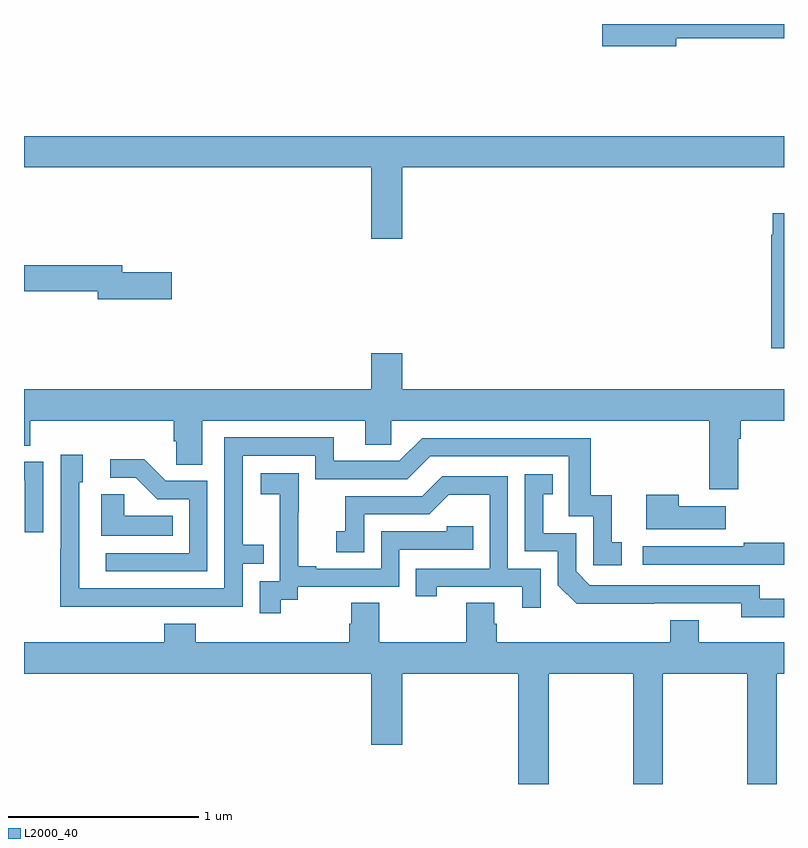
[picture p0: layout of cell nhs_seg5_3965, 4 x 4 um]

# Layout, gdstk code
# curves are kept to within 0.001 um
import gdstk
lib = gdstk.Library(unit=1e-6, precision=1e-09)
def P(c, l, *ps):  # polygons
    for p in ps: c.add(gdstk.Polygon(p, *l))
L2000_40 = (2000, 40)

nhs_seg5_3965 = lib.new_cell('nhs_seg5_3965')
P(nhs_seg5_3965, L2000_40, [(346.432,906.724),(347,906.724),(347,906.799),(346.044,906.799),(346.044,906.682),(346.432,906.682)],
  [(344.992,906.044),(347,906.044),(347,906.208),(343,906.208),(343,906.044),(344.828,906.044),(344.828,905.67),(344.992,905.67)],
  [(347,905.803),(346.941,905.803),(346.941,905.69),(346.933,905.69),(346.933,905.093),(347,905.093)],
  [(343.777,905.492),(343.516,905.492),(343.516,905.528),(343,905.528),(343,905.392),(343.388,905.392),(343.388,905.35),(343.777,905.35)],
  [(346.759,904.616),(346.772,904.616),(346.772,904.712),(347,904.712),(347,904.876),(344.992,904.876),(344.992,905.065),(344.828,905.065),(344.828,904.876),(343,904.876),(343,904.579),(343.034,904.579),(343.034,904.712),(343.787,904.712),(343.787,904.603),(343.8,904.603),(343.8,904.48),(343.939,904.48),(343.939,904.712),(344.795,904.712),(344.795,904.585),(344.934,904.585),(344.934,904.712),(346.607,904.712),(346.607,904.35),(346.759,904.35)],
  [(343.655,903.732),(344.151,903.732),(344.151,903.957),(344.261,903.957),(344.261,904.058),(344.151,904.058),(344.151,904.527),(344.532,904.527),(344.532,904.404),(345.018,904.404),(345.138,904.524),(345.867,904.524),(345.867,904.209),(345.996,904.209),(345.996,903.951),(346.147,903.951),(346.147,904.071),(346.094,904.071),(346.094,904.318),(345.983,904.318),(345.983,904.62),(345.096,904.62),(344.976,904.5),(344.629,904.5),(344.629,904.623),(344.055,904.623),(344.055,903.828),(343.29,903.828),(343.29,904.386),(343.309,904.386),(343.309,904.531),(343.194,904.531),(343.194,904.037),(343.192,904.037),(343.192,903.731)],
  [(343.965,904.395),(343.746,904.395),(343.633,904.508),(343.455,904.508),(343.455,904.41),(343.589,904.41),(343.7,904.299),(343.869,904.299),(343.869,904.014),(343.431,904.014),(343.431,903.918),(343.965,903.918)],
  [(343.101,904.494),(343,904.494),(343,904.398),(343.005,904.398),(343.005,904.125),(343.101,904.125)],
  [(344.35,903.769),(344.442,903.769),(344.442,903.837),(344.976,903.837),(344.976,904.032),(345.365,904.032),(345.365,904.155),(345.225,904.155),(345.225,904.128),(344.88,904.128),(344.88,903.933),(344.539,903.933),(344.539,903.946),(344.444,903.946),(344.444,904.229),(344.445,904.229),(344.445,904.435),(344.247,904.435),(344.247,904.325),(344.345,904.325),(344.345,904.097),(344.346,904.097),(344.346,903.867),(344.241,903.867),(344.241,903.699),(344.35,903.699)],
  [(347,903.774),(346.872,903.774),(346.872,903.846),(345.978,903.846),(345.906,903.918),(345.906,904.119),(345.733,904.119),(345.733,904.323),(345.782,904.323),(345.782,904.429),(345.636,904.429),(345.636,904.023),(345.81,904.023),(345.81,903.846),(345.908,903.749),(346.776,903.75),(346.776,903.677),(347,903.677)],
  [(345.72,903.933),(345.546,903.933),(345.546,904.419),(345.2,904.419),(345.095,904.314),(344.692,904.314),(344.692,904.129),(344.643,904.129),(344.643,904.02),(344.79,904.02),(344.79,904.218),(345.132,904.218),(345.236,904.322),(345.45,904.322),(345.45,903.933),(345.061,903.933),(345.061,903.786),(345.172,903.786),(345.172,903.837),(345.623,903.837),(345.623,903.726),(345.72,903.726)],
  [(343.784,904.21),(343.527,904.21),(343.527,904.325),(343.406,904.325),(343.406,904.106),(343.784,904.106)],
  [(346.693,904.261),(346.445,904.261),(346.445,904.321),(346.274,904.321),(346.274,904.139),(346.693,904.139)],
  [(347,904.07),(346.789,904.07),(346.789,904.05),(346.257,904.05),(346.257,903.954),(347,903.954)],
  [(345.762,903.38),(346.207,903.38),(346.207,902.799),(346.362,902.799),(346.362,903.38),(346.807,903.38),(346.807,902.799),(346.962,902.799),(346.962,903.38),(347,903.38),(347,903.544),(346.552,903.544),(346.552,903.661),(346.4,903.661),(346.4,903.544),(345.488,903.544),(345.488,903.642),(345.475,903.642),(345.475,903.752),(345.328,903.752),(345.328,903.544),(344.871,903.544),(344.871,903.752),(344.723,903.752),(344.723,903.642),(344.711,903.642),(344.711,903.544),(343.904,903.544),(343.904,903.643),(343.739,903.643),(343.739,903.544),(343,903.544),(343,903.38),(344.828,903.38),(344.828,903.006),(344.992,903.006),(344.992,903.38),(345.602,903.38),(345.602,902.799),(345.762,902.799)])

lib.write_gds('nhs_seg5_3965.gds')
